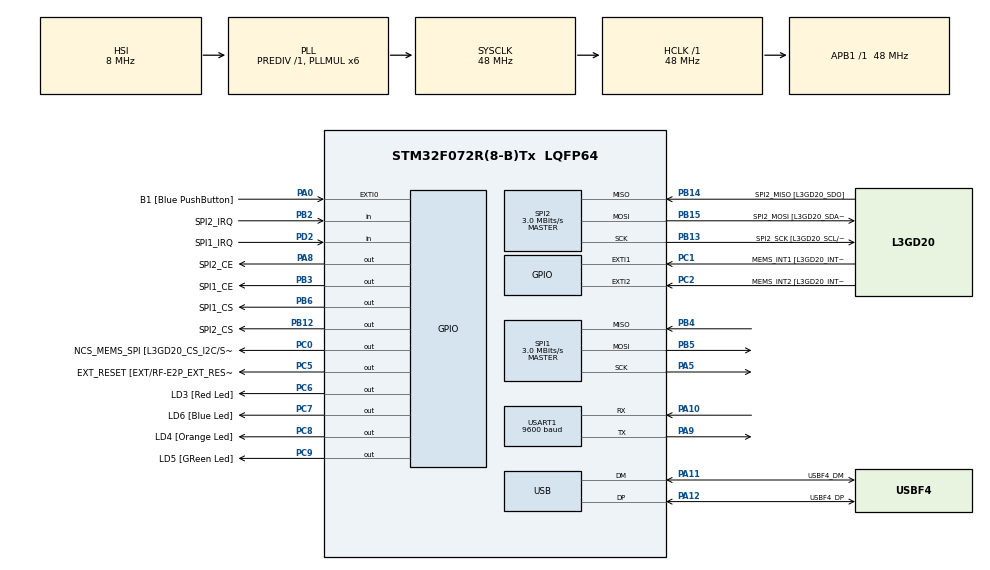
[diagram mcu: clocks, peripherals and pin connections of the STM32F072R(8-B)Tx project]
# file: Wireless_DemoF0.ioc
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Mcu.Family=STM32F0
Mcu.Name=STM32F072R(8-B)Tx
Mcu.Package=LQFP64
NVIC.USB_IRQn=true\:0\:0\:false\:false\:true
PA0.GPIO_Label=B1 [Blue PushButton]
PA0.GPIO_ModeDefaultEXTI=GPIO_MODE_EVT_RISING
PA0.Signal=GPXTI0
PA10.Mode=Asynchronous
PA10.Signal=USART1_RX
PA11.GPIO_Label=USBF4_DM
PA11.Mode=Device
PA11.Signal=USB_DM
PA12.GPIO_Label=USBF4_DP
PA12.Mode=Device
PA12.Signal=USB_DP
PA13.GPIO_Label=SWDIO
PA13.Signal=SYS_SWDIO
PA14.GPIO_Label=SWCLK
PA14.Signal=SYS_SWCLK
PA2.Signal=TSC_G1_IO3
PA3.Signal=TSC_G1_IO4
PA5.Mode=Full_Duplex_Master
PA5.Signal=SPI1_SCK
PA6.Signal=TSC_G2_IO3
PA7.Signal=TSC_G2_IO4
PA8.GPIO_Label=SPI2_CE
PA8.GPIO_Speed=GPIO_SPEED_FREQ_HIGH
PA8.PinState=GPIO_PIN_RESET
PA8.Signal=GPIO_Output
PA9.Mode=Asynchronous
PA9.Signal=USART1_TX
PB0.Signal=TSC_G3_IO2
PB1.Signal=TSC_G3_IO3
PB10.GPIO_Label=I2C2_SCL[EXT/RF-E2P_SCL]
PB10.Signal=I2C2_SCL
PB11.GPIO_Label=I2C2_SDA[EXT/RF-E2P_SDA]
PB11.Signal=I2C2_SDA
PB12.GPIO_Label=SPI2_CS
PB12.GPIO_Speed=GPIO_SPEED_FREQ_HIGH
PB12.PinState=GPIO_PIN_SET
PB12.Signal=GPIO_Output
PB13.GPIO_Label=SPI2_SCK [L3GD20_SCL/SPC]
PB13.Mode=Full_Duplex_Master
PB13.Signal=SPI2_SCK
PB14.GPIO_Label=SPI2_MISO [L3GD20_SDO]
PB14.Mode=Full_Duplex_Master
PB14.Signal=SPI2_MISO
PB15.GPIO_Label=SPI2_MOSI [L3GD20_SDA/SDI]
PB15.Mode=Full_Duplex_Master
PB15.Signal=SPI2_MOSI
PB2.GPIO_Label=SPI2_IRQ
PB2.Signal=GPIO_Input
PB3.GPIO_Label=SPI1_CE
PB3.GPIO_Speed=GPIO_SPEED_FREQ_HIGH
PB3.Signal=GPIO_Output
PB4.Mode=Full_Duplex_Master
PB4.Signal=SPI1_MISO
PB5.Mode=Full_Duplex_Master
PB5.Signal=SPI1_MOSI
PB6.GPIO_FM6=SYSCFG_CFGR1_I2C_FMP_PB6
PB6.GPIO_Label=SPI1_CS
PB6.GPIO_Speed=GPIO_SPEED_FREQ_HIGH
PB6.PinState=GPIO_PIN_SET
PB6.Signal=GPIO_Output
PC0.GPIO_Label=NCS_MEMS_SPI [L3GD20_CS_I2C/SPI]
PC0.Signal=GPIO_Output
PC1.GPIO_Label=MEMS_INT1 [L3GD20_INT1]
PC1.GPIO_ModeDefaultEXTI=GPIO_MODE_EVT_RISING
PC1.Signal=GPXTI1
PC2.GPIO_Label=MEMS_INT2 [L3GD20_INT2]
PC2.GPIO_ModeDefaultEXTI=GPIO_MODE_EVT_RISING
PC2.Signal=GPXTI2
PC5.GPIO_Label=EXT_RESET [EXT/RF-E2P_EXT_RESET]
PC5.Signal=GPIO_Output
PC6.GPIO_Label=LD3 [Red Led]
PC6.Signal=GPIO_Output
PC7.GPIO_Label=LD6 [Blue Led]
PC7.Signal=GPIO_Output
PC8.GPIO_Label=LD4 [Orange Led]
PC8.Signal=GPIO_Output
PC9.GPIO_Label=LD5 [GReen Led]
PC9.Signal=GPIO_Output
PD2.GPIO_Label=SPI1_IRQ
PD2.Signal=GPIO_Input
ProjectManager.HeapSize=0x200
ProjectManager.StackSize=0x400
ProjectManager.TargetToolchain=EWARM
RCC.AHBFreq_Value=48000000
RCC.APB1Freq_Value=48000000
RCC.APB1TimFreq_Value=48000000
RCC.HCLKFreq_Value=48000000
RCC.PLLMUL=RCC_PLL_MUL6
RCC.SYSCLKFreq_VALUE=48000000
RCC.SYSCLKSource=RCC_SYSCLKSOURCE_PLLCLK
SPI1.BaudRatePrescaler=SPI_BAUDRATEPRESCALER_16
SPI1.CalculateBaudRate=3.0 MBits/s
SPI1.DataSize=SPI_DATASIZE_8BIT
SPI1.Mode=SPI_MODE_MASTER
SPI1.NSSPMode=SPI_NSS_PULSE_DISABLE
SPI2.BaudRatePrescaler=SPI_BAUDRATEPRESCALER_16
SPI2.CalculateBaudRate=3.0 MBits/s
SPI2.DataSize=SPI_DATASIZE_8BIT
SPI2.Mode=SPI_MODE_MASTER
SPI2.NSSPMode=SPI_NSS_PULSE_DISABLE
USART1.BaudRate=9600
USB_DEVICE.CLASS_NAME_FS=CDC
USB_DEVICE.USBD_HandleTypeDef=hUsbDeviceFS
USB_DEVICE.VirtualMode=Cdc
USB_DEVICE.VirtualModeFS=Cdc_FS
VP_USB_DEVICE_VS_USB_DEVICE_CDC_FS.Mode=CDC_FS
board=STM32F072B-DISCO

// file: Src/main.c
/**
  ******************************************************************************
  * File Name          : main.c
  * Description        : Main program body
  ******************************************************************************
  *
  * COPYRIGHT(c) 2016 STMicroelectronics
  *
  * Redistribution and use in source and binary forms, with or without modification,
  * are permitted provided that the following conditions are met:
  *   1. Redistributions of source code must retain the above copyright notice,
  *      this list of conditions and the following disclaimer.
  *   2. Redistributions in binary form must reproduce the above copyright notice,
  *      this list of conditions and the following disclaimer in the documentation
  *      and/or other materials provided with the distribution.
  *   3. Neither the name of STMicroelectronics nor the names of its contributors
  *      may be used to endorse or promote products derived from this software
  *      without specific prior written permission.
  *
  * THIS SOFTWARE IS PROVIDED BY THE COPYRIGHT HOLDERS AND CONTRIBUTORS "AS IS"
  * AND ANY EXPRESS OR IMPLIED WARRANTIES, INCLUDING, BUT NOT LIMITED TO, THE
  * IMPLIED WARRANTIES OF MERCHANTABILITY AND FITNESS FOR A PARTICULAR PURPOSE ARE
  * DISCLAIMED. IN NO EVENT SHALL THE COPYRIGHT HOLDER OR CONTRIBUTORS BE LIABLE
  * FOR ANY DIRECT, INDIRECT, INCIDENTAL, SPECIAL, EXEMPLARY, OR CONSEQUENTIAL
  * DAMAGES (INCLUDING, BUT NOT LIMITED TO, PROCUREMENT OF SUBSTITUTE GOODS OR
  * SERVICES; LOSS OF USE, DATA, OR PROFITS; OR BUSINESS INTERRUPTION) HOWEVER
  * CAUSED AND ON ANY THEORY OF LIABILITY, WHETHER IN CONTRACT, STRICT LIABILITY,
  * OR TORT (INCLUDING NEGLIGENCE OR OTHERWISE) ARISING IN ANY WAY OUT OF THE USE
  * OF THIS SOFTWARE, EVEN IF ADVISED OF THE POSSIBILITY OF SUCH DAMAGE.
  *
  ******************************************************************************
  */
#include "stm32f0xx_hal.h"
#include "usb_device.h"
#include "NRF_Utilities.c"

SPI_HandleTypeDef hspi1;
SPI_HandleTypeDef hspi2;

UART_HandleTypeDef huart1;

/* USER CODE BEGIN PV */
/* Private variables ---------------------------------------------------------*/

uint8_t PowerUpTx[2] = {0x20, 0x02};
//uint8_t ConfigBuffer[2] = {0x00, 0x00};
uint8_t PowerUpRx[2] = {0x20, 0x03};
uint8_t RFSetup[2] = {0x26, 0x26};
uint8_t Nop[2] = {0xFF, 0xFF};
uint8_t RxPayloadSize[2] = {0x31, 0x20};
uint8_t ClearStatus[2] = {0x27, 0x70};
uint8_t SetNoAutoretransmit[2] = {0x24, 0xF0};
uint8_t FlushTx = 0xE1;
uint8_t FlushRx = 0xE2;
uint8_t LoadTxBuffer[34];
uint8_t ReadRxBuffer[34];
uint8_t RXIncrementor;
uint8_t RXERROR;

uint8_t rData[35];
/* USER CODE END PV */

void SystemClock_Config(void);
static void MX_GPIO_Init(void);
static void MX_SPI1_Init(void);
static void MX_SPI2_Init(void);
static void MX_USART1_UART_Init(void);

/* USER CODE BEGIN PFP */
/* Private function prototypes -----------------------------------------------*/
void SetupReceiver();
void SetupTransmitter();
uint8_t Tx_Transmit(uint8_t *pData, uint16_t size);
uint8_t Rx_Transmit(uint8_t *pData, uint16_t size);
void TransmitPayload(uint8_t *payload, uint16_t size);
void ReceivePayload();

/* USER CODE END PFP */

int main(void)
{

  /* USER CODE BEGIN 1 */
  for(uint8_t i = 0; i < 35; i++){//Initialize rData
    rData[i] = 0;
  }

  LoadTxBuffer[0] = 0xA0; //Load Buffer Command

  ReadRxBuffer[0] = 0x61;
  /* USER CODE END 1 */

  /* MCU Configuration----------------------------------------------------------*/

  /* Reset of all peripherals, Initializes the Flash interface and the Systick. */
  HAL_Init();

  /* Configure the system clock */
  SystemClock_Config();

  /* Initialize all configured peripherals */
  MX_GPIO_Init();
  MX_SPI1_Init();
  MX_SPI2_Init();
  MX_USART1_UART_Init();
  MX_USB_DEVICE_Init();

  /* USER CODE BEGIN 2 */
  HAL_GPIO_WritePin(SPI2_CE_GPIO_Port, SPI2_CE_Pin, GPIO_PIN_SET);
  HAL_Delay(100);
  SetupTransmitter();
  SetupReceiver();
  HAL_Delay(100);
  uint8_t count[32];
  for(uint8_t i = 0; i < 32; i++){count[i] = 0x16;}
  /* USER CODE END 2 */

  /* Infinite loop */
  while (1)
  {

  /* USER CODE BEGIN 3 */
    //Load TX Buffer
    //Transmit Packet
    TransmitPayload(&count[0], 32);
    //Wait for IRQ
    while(Rx_Transmit(&Nop[0], 1)!=0x40);
    //Read Packet
    ReceivePayload();
    //HAL_Delay(50);
    count[5]++;
  }
  /* USER CODE END 3 */

}

/** System Clock Configuration
*/
void SystemClock_Config(void)
{

  RCC_OscInitTypeDef RCC_OscInitStruct;
  RCC_ClkInitTypeDef RCC_ClkInitStruct;
  RCC_PeriphCLKInitTypeDef PeriphClkInit;

  RCC_OscInitStruct.OscillatorType = RCC_OSCILLATORTYPE_HSI|RCC_OSCILLATORTYPE_HSI48;
  RCC_OscInitStruct.HSIState = RCC_HSI_ON;
  RCC_OscInitStruct.HSI48State = RCC_HSI48_ON;
  RCC_OscInitStruct.HSICalibrationValue = 16;
  RCC_OscInitStruct.PLL.PLLState = RCC_PLL_ON;
  RCC_OscInitStruct.PLL.PLLSource = RCC_PLLSOURCE_HSI;
  RCC_OscInitStruct.PLL.PLLMUL = RCC_PLL_MUL6;
  RCC_OscInitStruct.PLL.PREDIV = RCC_PREDIV_DIV1;
  HAL_RCC_OscConfig(&RCC_OscInitStruct);

  RCC_ClkInitStruct.ClockType = RCC_CLOCKTYPE_HCLK|RCC_CLOCKTYPE_SYSCLK
                              |RCC_CLOCKTYPE_PCLK1;
  RCC_ClkInitStruct.SYSCLKSource = RCC_SYSCLKSOURCE_PLLCLK;
  RCC_ClkInitStruct.AHBCLKDivider = RCC_SYSCLK_DIV1;
  RCC_ClkInitStruct.APB1CLKDivider = RCC_HCLK_DIV1;
  HAL_RCC_ClockConfig(&RCC_ClkInitStruct, FLASH_LATENCY_1);

  PeriphClkInit.PeriphClockSelection = RCC_PERIPHCLK_USB|RCC_PERIPHCLK_USART1;
  PeriphClkInit.Usart1ClockSelection = RCC_USART1CLKSOURCE_PCLK1;
  PeriphClkInit.UsbClockSelection = RCC_USBCLKSOURCE_HSI48;
  HAL_RCCEx_PeriphCLKConfig(&PeriphClkInit);

  HAL_SYSTICK_Config(HAL_RCC_GetHCLKFreq()/1000);

  HAL_SYSTICK_CLKSourceConfig(SYSTICK_CLKSOURCE_HCLK);

  /* SysTick_IRQn interrupt configuration */
  HAL_NVIC_SetPriority(SysTick_IRQn, 0, 0);
}

/* SPI1 init function */
void MX_SPI1_Init(void)
{

  hspi1.Instance = SPI1;
  hspi1.Init.Mode = SPI_MODE_MASTER;
  hspi1.Init.Direction = SPI_DIRECTION_2LINES;
  hspi1.Init.DataSize = SPI_DATASIZE_8BIT;
  hspi1.Init.CLKPolarity = SPI_POLARITY_LOW;
  hspi1.Init.CLKPhase = SPI_PHASE_1EDGE;
  hspi1.Init.NSS = SPI_NSS_SOFT;
  hspi1.Init.BaudRatePrescaler = SPI_BAUDRATEPRESCALER_16;
  hspi1.Init.FirstBit = SPI_FIRSTBIT_MSB;
  hspi1.Init.TIMode = SPI_TIMODE_DISABLE;
  hspi1.Init.CRCCalculation = SPI_CRCCALCULATION_DISABLE;
  hspi1.Init.CRCPolynomial = 7;
  hspi1.Init.CRCLength = SPI_CRC_LENGTH_DATASIZE;
  hspi1.Init.NSSPMode = SPI_NSS_PULSE_DISABLE;
  HAL_SPI_Init(&hspi1);

}

/* SPI2 init function */
void MX_SPI2_Init(void)
{

  hspi2.Instance = SPI2;
  hspi2.Init.Mode = SPI_MODE_MASTER;
  hspi2.Init.Direction = SPI_DIRECTION_2LINES;
  hspi2.Init.DataSize = SPI_DATASIZE_8BIT;
  hspi2.Init.CLKPolarity = SPI_POLARITY_LOW;
  hspi2.Init.CLKPhase = SPI_PHASE_1EDGE;
  hspi2.Init.NSS = SPI_NSS_SOFT;
  hspi2.Init.BaudRatePrescaler = SPI_BAUDRATEPRESCALER_16;
  hspi2.Init.FirstBit = SPI_FIRSTBIT_MSB;
  hspi2.Init.TIMode = SPI_TIMODE_DISABLE;
  hspi2.Init.CRCCalculation = SPI_CRCCALCULATION_DISABLE;
  hspi2.Init.CRCPolynomial = 7;
  hspi2.Init.CRCLength = SPI_CRC_LENGTH_DATASIZE;
  hspi2.Init.NSSPMode = SPI_NSS_PULSE_DISABLE;
  HAL_SPI_Init(&hspi2);

}

/* USART1 init function */
void MX_USART1_UART_Init(void)
{

  huart1.Instance = USART1;
  huart1.Init.BaudRate = 9600;
  huart1.Init.WordLength = UART_WORDLENGTH_7B;
  huart1.Init.StopBits = UART_STOPBITS_1;
  huart1.Init.Parity = UART_PARITY_NONE;
  huart1.Init.Mode = UART_MODE_TX_RX;
  huart1.Init.HwFlowCtl = UART_HWCONTROL_NONE;
  huart1.Init.OverSampling = UART_OVERSAMPLING_16;
  huart1.Init.OneBitSampling = UART_ONE_BIT_SAMPLE_DISABLE;
  huart1.AdvancedInit.AdvFeatureInit = UART_ADVFEATURE_NO_INIT;
  HAL_UART_Init(&huart1);

}

/** Configure pins as
        * Analog
        * Input
        * Output
        * EVENT_OUT
        * EXTI
     PA2   ------> TSC_G1_IO3
     PA3   ------> TSC_G1_IO4
     PA6   ------> TSC_G2_IO3
     PA7   ------> TSC_G2_IO4
     PB0   ------> TSC_G3_IO2
     PB1   ------> TSC_G3_IO3
     PB10   ------> I2C2_SCL
     PB11   ------> I2C2_SDA
*/
void MX_GPIO_Init(void)
{

  GPIO_InitTypeDef GPIO_InitStruct;

  /* GPIO Ports Clock Enable */
  __HAL_RCC_GPIOC_CLK_ENABLE();
  __HAL_RCC_GPIOA_CLK_ENABLE();
  __HAL_RCC_GPIOB_CLK_ENABLE();
  __HAL_RCC_GPIOD_CLK_ENABLE();

  /*Configure GPIO pin Output Level */
  HAL_GPIO_WritePin(GPIOC, NCS_MEMS_SPI_Pin|EXT_RESET_Pin|LD3_Pin|LD6_Pin
                          |LD4_Pin|LD5_Pin, GPIO_PIN_RESET);

  /*Configure GPIO pin Output Level */
  HAL_GPIO_WritePin(GPIOB, SPI2_CS_Pin|SPI1_CS_Pin, GPIO_PIN_SET);

  /*Configure GPIO pin Output Level */
  HAL_GPIO_WritePin(SPI2_CE_GPIO_Port, SPI2_CE_Pin, GPIO_PIN_RESET);

  /*Configure GPIO pin Output Level */
  HAL_GPIO_WritePin(SPI1_CE_GPIO_Port, SPI1_CE_Pin, GPIO_PIN_RESET);

  /*Configure GPIO pins : NCS_MEMS_SPI_Pin EXT_RESET_Pin LD3_Pin LD6_Pin
                           LD4_Pin LD5_Pin */
  GPIO_InitStruct.Pin = NCS_MEMS_SPI_Pin|EXT_RESET_Pin|LD3_Pin|LD6_Pin
                          |LD4_Pin|LD5_Pin;
  GPIO_InitStruct.Mode = GPIO_MODE_OUTPUT_PP;
  GPIO_InitStruct.Pull = GPIO_NOPULL;
  GPIO_InitStruct.Speed = GPIO_SPEED_FREQ_LOW;
  HAL_GPIO_Init(GPIOC, &GPIO_InitStruct);

  /*Configure GPIO pins : MEMS_INT1_Pin MEMS_INT2_Pin */
  GPIO_InitStruct.Pin = MEMS_INT1_Pin|MEMS_INT2_Pin;
  GPIO_InitStruct.Mode = GPIO_MODE_EVT_RISING;
  GPIO_InitStruct.Pull = GPIO_NOPULL;
  HAL_GPIO_Init(GPIOC, &GPIO_InitStruct);

  /*Configure GPIO pin : B1_Pin */
  GPIO_InitStruct.Pin = B1_Pin;
  GPIO_InitStruct.Mode = GPIO_MODE_EVT_RISING;
  GPIO_InitStruct.Pull = GPIO_NOPULL;
  HAL_GPIO_Init(B1_GPIO_Port, &GPIO_InitStruct);

  /*Configure GPIO pins : PA2 PA3 PA6 PA7 */
  GPIO_InitStruct.Pin = GPIO_PIN_2|GPIO_PIN_3|GPIO_PIN_6|GPIO_PIN_7;
  GPIO_InitStruct.Mode = GPIO_MODE_AF_PP;
  GPIO_InitStruct.Pull = GPIO_NOPULL;
  GPIO_InitStruct.Speed = GPIO_SPEED_FREQ_LOW;
  GPIO_InitStruct.Alternate = GPIO_AF3_TSC;
  HAL_GPIO_Init(GPIOA, &GPIO_InitStruct);

  /*Configure GPIO pins : PB0 PB1 */
  GPIO_InitStruct.Pin = GPIO_PIN_0|GPIO_PIN_1;
  GPIO_InitStruct.Mode = GPIO_MODE_AF_PP;
  GPIO_InitStruct.Pull = GPIO_NOPULL;
  GPIO_InitStruct.Speed = GPIO_SPEED_FREQ_LOW;
  GPIO_InitStruct.Alternate = GPIO_AF3_TSC;
  HAL_GPIO_Init(GPIOB, &GPIO_InitStruct);

  /*Configure GPIO pin : SPI2_IRQ_Pin */
  GPIO_InitStruct.Pin = SPI2_IRQ_Pin;
  GPIO_InitStruct.Mode = GPIO_MODE_INPUT;
  GPIO_InitStruct.Pull = GPIO_NOPULL;
  HAL_GPIO_Init(SPI2_IRQ_GPIO_Port, &GPIO_InitStruct);

  /*Configure GPIO pins : PB10 PB11 */
  GPIO_InitStruct.Pin = GPIO_PIN_10|GPIO_PIN_11;
  GPIO_InitStruct.Mode = GPIO_MODE_AF_OD;
  GPIO_InitStruct.Pull = GPIO_PULLUP;
  GPIO_InitStruct.Speed = GPIO_SPEED_FREQ_HIGH;
  GPIO_InitStruct.Alternate = GPIO_AF1_I2C2;
  HAL_GPIO_Init(GPIOB, &GPIO_InitStruct);

  /*Configure GPIO pins : SPI2_CS_Pin SPI1_CE_Pin SPI1_CS_Pin */
  GPIO_InitStruct.Pin = SPI2_CS_Pin|SPI1_CE_Pin|SPI1_CS_Pin;
  GPIO_InitStruct.Mode = GPIO_MODE_OUTPUT_PP;
  GPIO_InitStruct.Pull = GPIO_NOPULL;
  GPIO_InitStruct.Speed = GPIO_SPEED_FREQ_HIGH;
  HAL_GPIO_Init(GPIOB, &GPIO_InitStruct);

  /*Configure GPIO pin : SPI2_CE_Pin */
  GPIO_InitStruct.Pin = SPI2_CE_Pin;
  GPIO_InitStruct.Mode = GPIO_MODE_OUTPUT_PP;
  GPIO_InitStruct.Pull = GPIO_NOPULL;
  GPIO_InitStruct.Speed = GPIO_SPEED_FREQ_HIGH;
  HAL_GPIO_Init(SPI2_CE_GPIO_Port, &GPIO_InitStruct);

  /*Configure GPIO pin : SPI1_IRQ_Pin */
  GPIO_InitStruct.Pin = SPI1_IRQ_Pin;
  GPIO_InitStruct.Mode = GPIO_MODE_INPUT;
  GPIO_InitStruct.Pull = GPIO_NOPULL;
  HAL_GPIO_Init(SPI1_IRQ_GPIO_Port, &GPIO_InitStruct);

  /**/
  HAL_I2CEx_EnableFastModePlus(SYSCFG_CFGR1_I2C_FMP_PB6);

}

/* USER CODE BEGIN 4 */
uint8_t Rx_Transmit(uint8_t *pData, uint16_t size){
  HAL_GPIO_WritePin(GPIOB, SPI2_CS_Pin, GPIO_PIN_RESET);
  HAL_SPI_TransmitReceive(&hspi2, pData, &rData[0], size, 10);
  while(!__HAL_SPI_GET_FLAG(&hspi2,SPI_FLAG_TXE));
  HAL_GPIO_WritePin(GPIOB, SPI2_CS_Pin, GPIO_PIN_SET);

  return(rData[0]);
}

uint8_t Tx_Transmit(uint8_t *pData, uint16_t size){
  HAL_GPIO_WritePin(GPIOB, SPI1_CS_Pin, GPIO_PIN_RESET);
  HAL_SPI_TransmitReceive(&hspi1, pData, &rData[0], size, 10);
  while(!__HAL_SPI_GET_FLAG(&hspi1,SPI_FLAG_TXE));
  HAL_GPIO_WritePin(GPIOB, SPI1_CS_Pin, GPIO_PIN_SET);

  return(rData[0]);
}

void SetupReceiver(){
   uint8_t ConfigBuffer[4] = {0x00, 0x00, 0x00, 0x00};
  //int a = W_REGISTER | CONFIG;
  ConfigBuffer[0] = 0x20;//W_REGISTER | CONFIG;//Set device to RX
  ConfigBuffer[1] = 0x09;
  Rx_Transmit(&ConfigBuffer[0], 2);

  ConfigBuffer[0] = 0x21;//W_REGISTER | EN_AA;//Enable autoack only on pipe 0
  ConfigBuffer[1] = 0x01;
  Rx_Transmit(&ConfigBuffer[0], 2);

  ConfigBuffer[0] = 0x22;//W_REGISTER + EN_RXADDR;//Enable RX pipe 0
  ConfigBuffer[1] = 0x01;
  Rx_Transmit(&ConfigBuffer[0], 2);

  ConfigBuffer[0] = 0x23;//W_REGISTER + SETUP_AW;//Setup address width 3 bytes
  ConfigBuffer[1] = 0x01;
  Rx_Transmit(&ConfigBuffer[0], 2);

  ConfigBuffer[0] = 0x24;//W_REGISTER + SETUP_RETR;//Disable Retransmission
  ConfigBuffer[1] = 0x00;
  Rx_Transmit(&ConfigBuffer[0], 2);

  ConfigBuffer[0] = 0x25;//W_REGISTER + RF_CH;//Setup RF Channel/Same as RX
  ConfigBuffer[1] = 0x02;
  Rx_Transmit(&ConfigBuffer[0], 2);

  ConfigBuffer[0] = 0x26;//W_REGISTER + RF_SETUP;//Setup RF(250kbps, 0dbm)
  ConfigBuffer[1] = 0x26;
  Rx_Transmit(&ConfigBuffer[0], 2);

  ConfigBuffer[0] = 0x27;//W_REGISTER + STATUS;//Clear Interrupts
  ConfigBuffer[1] = 0xF0;
  Rx_Transmit(&ConfigBuffer[0], 2);

  ConfigBuffer[0] = 0x2A;//W_REGISTER + RX_ADDR_P0;//Set RX Address
  ConfigBuffer[1] = 0xE7;
  ConfigBuffer[2] = 0xE7;
  ConfigBuffer[3] = 0xE7;
  Rx_Transmit(&ConfigBuffer[0], 4);

  ConfigBuffer[0] = 0x30;//W_REGISTER + TX_ADDR;//Set TX Address
  ConfigBuffer[1] = 0xE7;
  ConfigBuffer[2] = 0xE7;
  ConfigBuffer[3] = 0xE7;
  Rx_Transmit(&ConfigBuffer[0], 4);

  ConfigBuffer[0] = 0x31;//W_REGISTER + RX_PW_P0;//Set Payload length 32 Bytes
  ConfigBuffer[1] = 0x20;
  Rx_Transmit(&ConfigBuffer[0], 2);

  ConfigBuffer[0] = 0x3C;//W_REGISTER + DYNPD;//Disable dynamic payload
  ConfigBuffer[1] = 0x00;
  Rx_Transmit(&ConfigBuffer[0], 2);

  ConfigBuffer[0] = 0x3D;//W_REGISTER + FEATURE;//Disable features
  ConfigBuffer[1] = 0x00;
  Rx_Transmit(&ConfigBuffer[0], 2);

  ConfigBuffer[0] = 0x20;//W_REGISTER + CONFIG;//Power Up device
  ConfigBuffer[1] = 0x0B;
  Rx_Transmit(&ConfigBuffer[0], 2);

  Rx_Transmit(&FlushTx, 1);
  Rx_Transmit(&FlushRx, 1);
}

void SetupTransmitter(){
  uint8_t ConfigBuffer[4] = {0x00, 0x00, 0x00, 0x00};
  //int a = W_REGISTER | CONFIG;
  ConfigBuffer[0] = 0x20;//W_REGISTER | CONFIG;//Set device to TX
  ConfigBuffer[1] = 0x08;
  Tx_Transmit(&ConfigBuffer[0], 2);

  ConfigBuffer[0] = 0x21;//W_REGISTER | EN_AA;//Enable autoack only on pipe 0
  ConfigBuffer[1] = 0x01;
  Tx_Transmit(&ConfigBuffer[0], 2);

  ConfigBuffer[0] = 0x22;//W_REGISTER + EN_RXADDR;//Enable RX pipe 0
  ConfigBuffer[1] = 0x01;
  Tx_Transmit(&ConfigBuffer[0], 2);

  ConfigBuffer[0] = 0x23;//W_REGISTER + SETUP_AW;//Setup address width 3 bytes
  ConfigBuffer[1] = 0x01;
  Tx_Transmit(&ConfigBuffer[0], 2);

  ConfigBuffer[0] = 0x24;//W_REGISTER + SETUP_RETR;//Disable Retransmission
  ConfigBuffer[1] = 0x00;
  Tx_Transmit(&ConfigBuffer[0], 2);

  ConfigBuffer[0] = 0x25;//W_REGISTER + RF_CH;//Setup RF Channel/Same as RX
  ConfigBuffer[1] = 0x02;
  Tx_Transmit(&ConfigBuffer[0], 2);

  ConfigBuffer[0] = 0x26;//W_REGISTER + RF_SETUP;//Setup RF(250kbps, 0dbm)
  ConfigBuffer[1] = 0x26;
  Tx_Transmit(&ConfigBuffer[0], 2);

  ConfigBuffer[0] = 0x27;//W_REGISTER + STATUS;//Clear Interrupts
  ConfigBuffer[1] = 0xF0;
  Tx_Transmit(&ConfigBuffer[0], 2);

  ConfigBuffer[0] = 0x2A;//W_REGISTER + RX_ADDR_P0;//Set RX Address
  ConfigBuffer[1] = 0xE7;
  ConfigBuffer[2] = 0xE7;
  ConfigBuffer[3] = 0xE7;
  Tx_Transmit(&ConfigBuffer[0], 4);

  ConfigBuffer[0] = 0x30;//W_REGISTER + TX_ADDR;//Set TX Address
  ConfigBuffer[1] = 0xE7;
  ConfigBuffer[2] = 0xE7;
  ConfigBuffer[3] = 0xE7;
  Tx_Transmit(&ConfigBuffer[0], 4);

  ConfigBuffer[0] = 0x31;//W_REGISTER + RX_PW_P0;//Set Payload length 32 Bytes
  ConfigBuffer[1] = 0x20;
  Tx_Transmit(&ConfigBuffer[0], 2);

  ConfigBuffer[0] = 0x3C;//W_REGISTER + DYNPD;//Disable dynamic payload
  ConfigBuffer[1] = 0x00;
  Tx_Transmit(&ConfigBuffer[0], 2);

  ConfigBuffer[0] = 0x3D;//W_REGISTER + FEATURE;//Disable features
  ConfigBuffer[1] = 0x00;
  Tx_Transmit(&ConfigBuffer[0], 2);

  ConfigBuffer[0] = 0x20;//W_REGISTER + CONFIG;//Power Up device
  ConfigBuffer[1] = 0x0A;
  Tx_Transmit(&ConfigBuffer[0], 2);

  Tx_Transmit(&FlushTx, 1);
  Tx_Transmit(&FlushRx, 1);
}

void TransmitPayload(uint8_t *payload, uint16_t size){
  Tx_Transmit(&FlushTx, 1);
  Tx_Transmit(&ClearStatus[0], 2);
  for(uint8_t i = 1; i < size + 1; i++){
    LoadTxBuffer[i] = payload[i-1];
  }

  Tx_Transmit(&LoadTxBuffer[0], 33);

  HAL_GPIO_WritePin(GPIOB, SPI1_CE_Pin, GPIO_PIN_SET);
  HAL_Delay(10);
  HAL_GPIO_WritePin(GPIOB, SPI1_CE_Pin, GPIO_PIN_RESET);
  uint8_t cont = 0;
  /*
  while(!cont){
    if((rData[0]&&0x20)==0x20)
      cont = 1;
    Tx_Transmit(&Nop[0], 1);
  }*/

  return;
}

void ReceivePayload(){
  Rx_Transmit(&ReadRxBuffer[0], 33);
  if(rData[6] != RXIncrementor+1)
    RXERROR++;
  RXIncrementor = rData[6];

  return;
}

/* USER CODE END 4 */

/************************ (C) COPYRIGHT STMicroelectronics *****END OF FILE****/
